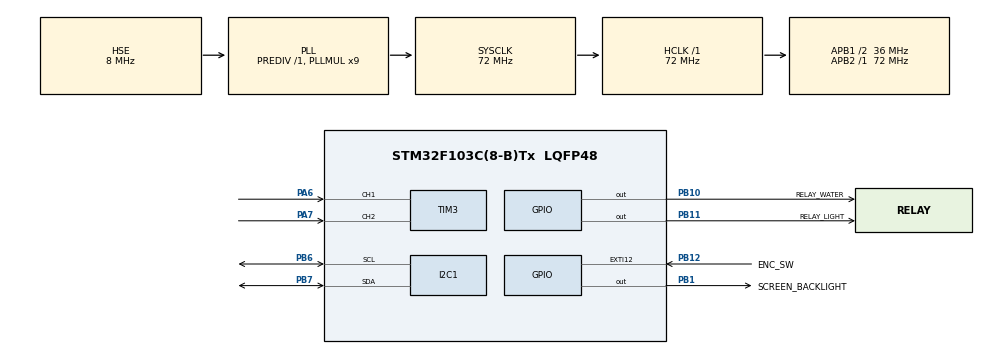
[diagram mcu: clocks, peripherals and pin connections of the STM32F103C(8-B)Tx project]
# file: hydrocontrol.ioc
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Mcu.Family=STM32F1
Mcu.Name=STM32F103C(8-B)Tx
Mcu.Package=LQFP48
NVIC.EXTI15_10_IRQn=true\:2\:0\:true\:false\:true\:true\:true
NVIC.PriorityGroup=NVIC_PRIORITYGROUP_4
NVIC.TIM4_IRQn=true\:1\:0\:true\:false\:true\:true\:true
PA13.Mode=Serial_Wire
PA13.Signal=SYS_JTMS-SWDIO
PA14.Mode=Serial_Wire
PA14.Signal=SYS_JTCK-SWCLK
PA6.Signal=S_TIM3_CH1
PA7.Signal=S_TIM3_CH2
PB1.GPIO_Label=SCREEN_BACKLIGHT
PB1.GPIO_ModeDefaultOutputPP=GPIO_MODE_OUTPUT_PP
PB1.GPIO_PuPd=GPIO_NOPULL
PB1.Signal=GPIO_Output
PB10.GPIO_Label=RELAY_WATER
PB10.Signal=GPIO_Output
PB11.GPIO_Label=RELAY_LIGHT
PB11.Signal=GPIO_Output
PB12.GPIO_Label=ENC_SW
PB12.GPIO_ModeDefaultEXTI=GPIO_MODE_IT_RISING
PB12.GPIO_PuPd=GPIO_PULLUP
PB12.Signal=GPXTI12
PB6.Mode=I2C
PB6.Signal=I2C1_SCL
PB7.Mode=I2C
PB7.Signal=I2C1_SDA
PC14-OSC32_IN.Mode=LSE-External-Oscillator
PC14-OSC32_IN.Signal=RCC_OSC32_IN
PC15-OSC32_OUT.Mode=LSE-External-Oscillator
PC15-OSC32_OUT.Signal=RCC_OSC32_OUT
PD0-OSC_IN.Mode=HSE-External-Oscillator
PD0-OSC_IN.Signal=RCC_OSC_IN
PD1-OSC_OUT.Mode=HSE-External-Oscillator
PD1-OSC_OUT.Signal=RCC_OSC_OUT
ProjectManager.HeapSize=0x200
ProjectManager.StackSize=0x400
ProjectManager.TargetToolchain=STM32CubeIDE
RCC.AHBFreq_Value=72000000
RCC.APB1CLKDivider=RCC_HCLK_DIV2
RCC.APB1Freq_Value=36000000
RCC.APB1TimFreq_Value=72000000
RCC.APB2Freq_Value=72000000
RCC.APB2TimFreq_Value=72000000
RCC.HCLKFreq_Value=72000000
RCC.PLLMUL=RCC_PLL_MUL9
RCC.PLLSourceVirtual=RCC_PLLSOURCE_HSE
RCC.RTCClockSelection=RCC_RTCCLKSOURCE_HSE_DIV128
RCC.SYSCLKFreq_VALUE=72000000
RCC.SYSCLKSource=RCC_SYSCLKSOURCE_PLLCLK
RCC.USBFreq_Value=72000000
RTC.Format=RTC_FORMAT_BIN
SH.S_TIM3_CH1.0=TIM3_CH1,Encoder_Interface
SH.S_TIM3_CH2.0=TIM3_CH2,Encoder_Interface
TIM4.Period=65535
TIM4.Prescaler=65535
VP_RTC_VS_RTC_Activate.Mode=RTC_Enabled
VP_TIM4_VS_ClockSourceINT.Mode=Internal
board=custom

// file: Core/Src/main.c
/* USER CODE BEGIN Header */
/**
  ******************************************************************************
  * @file           : main.c
  * @brief          : Main program body
  ******************************************************************************
  * @attention
  *
  * Author : Alexandr Olejnik <urgorka@gmail.com>
  * Hydrocontrol Ver.1.0
  * Simple controller hydroponic system (light and water) by timer.
  *
  ******************************************************************************
  */
/* USER CODE END Header */
#include "main.h"
#include "i2c.h"
#include "rtc.h"
#include "tim.h"
#include "gpio.h"

/* USER CODE BEGIN Includes */
#include "LCD.h"
#include "string.h"
#include "stdio.h"
/* USER CODE END Includes */

/* USER CODE BEGIN PTD */
enum menuItemType {MIT_INTERVAL, MIT_TIME, MIT_TRIPLE};
enum menuMode {MENU_MODE_LISTING, MENU_MODE_TUNING};
enum menuIndex {MENU_IDX_WATER_DAY, MENU_IDX_LIGHT_DAY, MENU_IDX_TIME, MENU_IDX_WATER_MODE, MENU_IDX_LIGHT_MODE};
enum type {TYPE_HOUR, TYPE_MINUTE, TYPE_BOOL, TYPE_ONEOFMANY};
struct menuItemStruct {
	char firstLine[17];
	char secondLine[17];
	char template[20];
	enum menuItemType type;
	uint8_t settingsMaxIdx;
	uint8_t values[4];
	uint8_t valuePosition[4];
	uint8_t valueType[4];
} menuItems[5];
struct MenuStruct{
	uint8_t currentIdx;
    uint8_t maxIdx;
    uint8_t settingIdx;
    enum menuMode menuMode;
} menu;

/* USER CODE END PTD */

/* USER CODE BEGIN PV */
uint32_t debounceA = 0;
uint32_t bedounceInterval = 300;
uint32_t encoderLastActivityTick = 0;
/* USER CODE END PV */

void SystemClock_Config(void);

/* USER CODE BEGIN 0 */
void displayOn(void) {
	HAL_GPIO_WritePin(SCREEN_BACKLIGHT_GPIO_Port, SCREEN_BACKLIGHT_Pin, 1);
}
void displayOff(void) {
	HAL_GPIO_WritePin(SCREEN_BACKLIGHT_GPIO_Port, SCREEN_BACKLIGHT_Pin, 0);
}
_Bool isDisplayOn(void) {
	return HAL_GPIO_ReadPin(SCREEN_BACKLIGHT_GPIO_Port, SCREEN_BACKLIGHT_Pin) == 1;
}
HAL_StatusTypeDef RTC_Set(uint8_t hour, uint8_t min) {
    HAL_StatusTypeDef res;
    RTC_TimeTypeDef time;
    RTC_DateTypeDef date;

//    memset(&time, 0, sizeof(time));
//    memset(&date, 0, sizeof(date));

    date.WeekDay = 7;
    date.Year = 20;
    date.Month = 11;
    date.Date = 15;

    res = HAL_RTC_SetDate(&hrtc, &date, RTC_FORMAT_BIN);
    if(res != HAL_OK) {
        return res;
    }

    time.Hours = hour;
    time.Minutes = min;
    time.Seconds = 0;

    return HAL_RTC_SetTime(&hrtc, &time, RTC_FORMAT_BIN);
}
// Invoke before reformat second line and menu redraw to set their some proprietary variables.
void beforeMenuRedraw(void) {
	RTC_TimeTypeDef time;
	HAL_StatusTypeDef res;
	if (MIT_TIME == menuItems[menu.currentIdx].type) {
		res = HAL_RTC_GetTime(&hrtc, &time, RTC_FORMAT_BIN);
		if (res == HAL_OK) {
			menuItems[menu.currentIdx].values[0] = time.Hours;
			menuItems[menu.currentIdx].values[1] = time.Minutes;
		} else {
			menuItems[menu.currentIdx].values[0] = 0;
			menuItems[menu.currentIdx].values[1] = 0;
		}
	}
}
// Make some code when switch from Tuning state back to Listing.
void applyTunedState(void) {
	switch (menuItems[menu.currentIdx].type) {
	case MIT_TIME:
		RTC_Set(menuItems[menu.currentIdx].values[0], menuItems[menu.currentIdx].values[1]);
		break;
	case MIT_TRIPLE:
		if (menu.currentIdx == MENU_IDX_LIGHT_MODE) {
			if (1 == menuItems[menu.currentIdx].values[0]) {
				HAL_GPIO_WritePin(RELAY_LIGHT_GPIO_Port, RELAY_LIGHT_Pin, 1);
				HAL_TIM_Base_Stop_IT(&htim4);
			} else if (1 == menuItems[menu.currentIdx].values[1]) {
				HAL_GPIO_WritePin(RELAY_LIGHT_GPIO_Port, RELAY_LIGHT_Pin, 0);
				HAL_TIM_Base_Stop_IT(&htim4);
			} else if (1 == menuItems[menu.currentIdx].values[2]) {
				HAL_TIM_Base_Start_IT(&htim4);
				HAL_TIM_PeriodElapsedCallback(&htim4);
			}
		} else if (menu.currentIdx == MENU_IDX_WATER_MODE) {
			if (1 == menuItems[menu.currentIdx].values[0]) {
				HAL_GPIO_WritePin(RELAY_WATER_GPIO_Port, RELAY_WATER_Pin, 1);
				HAL_TIM_Base_Stop_IT(&htim4);
			} else if (1 == menuItems[menu.currentIdx].values[1]) {
				HAL_GPIO_WritePin(RELAY_WATER_GPIO_Port, RELAY_WATER_Pin, 0);
				HAL_TIM_Base_Stop_IT(&htim4);
			} else if (1 == menuItems[menu.currentIdx].values[2]) {
				HAL_TIM_Base_Start_IT(&htim4);
				HAL_TIM_PeriodElapsedCallback(&htim4);
			}
		}
		break;
	case MIT_INTERVAL:
		break;
	}
}
// Redraw both lines of menu
void menuRedraw(void) {
	LCD_Clear();
    LCD_CursorMove(1, 1); LCD_SendString(menuItems[menu.currentIdx].firstLine);
    LCD_CursorMove(2, 1); LCD_SendString(menuItems[menu.currentIdx].secondLine);
}
// Shows system time when screen backlight is off.
void showStandbyScreen(void) {
	HAL_StatusTypeDef res;
	RTC_TimeTypeDef time;
	char str[25];
	res = HAL_RTC_GetTime(&hrtc, &time, RTC_FORMAT_BIN);
	if (res != HAL_OK) {
		Error_Handler();
	}
	LCD_Clear();
	LCD_SendString("Hydrocontrol");
	LCD_CursorMove(2, 1);
	sprintf(str, "%02d:%02d:%02d    v1.0", time.Hours, time.Minutes, time.Seconds);
	LCD_SendString(str);
}
// Format second line data according to second line format
void menuSecondLineReformat(void) {
	char text [16];

	switch (menuItems[menu.currentIdx].type) {
	case MIT_INTERVAL:
		sprintf(text, menuItems[menu.currentIdx].template, menuItems[menu.currentIdx].values[0], menuItems[menu.currentIdx].values[1], menuItems[menu.currentIdx].values[2], menuItems[menu.currentIdx].values[3]);
		strcpy(menuItems[menu.currentIdx].secondLine, text);
		break;
	case MIT_TIME:
		sprintf(text, menuItems[menu.currentIdx].template, menuItems[menu.currentIdx].values[0], menuItems[menu.currentIdx].values[1]);
				strcpy(menuItems[menu.currentIdx].secondLine, text);
		break;
	case MIT_TRIPLE:
		sprintf(text, menuItems[menu.currentIdx].template,
				menuItems[menu.currentIdx].values[0] == 1 ? 0b01111110 : 32,
				menuItems[menu.currentIdx].values[1] == 1 ? 0b01111110 : 32,
				menuItems[menu.currentIdx].values[2] == 1 ? 0b01111110 : 32);
		strcpy(menuItems[menu.currentIdx].secondLine, text);
		break;
	}
}
// move cursor to current tuning position. Points to which parameter should be changed.
void tuningClickCursorMove(void) {
	LCD_CursorMove(2, menuItems[menu.currentIdx].valuePosition[menu.settingIdx]);
}
// Interruption callback for encoder button click.
// Changes state of menu and switch between parameters.
void HAL_GPIO_EXTI_Callback(uint16_t GPIO_Pin) {
	uint32_t bedounceB = HAL_GetTick();
	if (bedounceB - debounceA < bedounceInterval) return;
	debounceA = bedounceB;
	if (!isDisplayOn()) {
		displayOn();
		return;
	}
	switch (menu.menuMode) {
	case MENU_MODE_LISTING:
		menu.menuMode = MENU_MODE_TUNING;
		menu.settingIdx = 0;
		LCD_CursorState(LCD_CursorState_On);
		menuRedraw();
		tuningClickCursorMove();
		break;
	case MENU_MODE_TUNING:
		if (menu.settingIdx < menuItems[menu.currentIdx].settingsMaxIdx) {
			menu.settingIdx++;
			tuningClickCursorMove();
		} else {
			menu.menuMode = MENU_MODE_LISTING;
			applyTunedState();
			LCD_CursorState(LCD_CursorState_Off);
		}
		break;
	}
}
/**
  * Interruption handler of every-minute-timer.
  * @brief  Period elapsed callback in non-blocking mode
  * @param  htim TIM handle
  * @retval None
  */
void HAL_TIM_PeriodElapsedCallback(TIM_HandleTypeDef *htim) {
	 if (TIM4 == htim->Instance) {
		RTC_TimeTypeDef time;
		HAL_StatusTypeDef res;
		uint32_t currentTimeLinear;
		uint32_t tStart, tStop;
		res = HAL_RTC_GetTime(&hrtc, &time, RTC_FORMAT_BIN);
		if (res == HAL_OK) {
			currentTimeLinear = time.Hours * 60 + time.Minutes;
			if (menuItems[MENU_IDX_WATER_MODE].values[2] == 1) {
				tStart = menuItems[MENU_IDX_WATER_DAY].values[0] * 60 + menuItems[MENU_IDX_WATER_DAY].values[1];
				tStop = menuItems[MENU_IDX_WATER_DAY].values[2] * 60 + menuItems[MENU_IDX_WATER_DAY].values[3];
				if (currentTimeLinear >= tStart && currentTimeLinear < tStop) {
					HAL_GPIO_WritePin(RELAY_WATER_GPIO_Port, RELAY_WATER_Pin, 1);
				} else {
					HAL_GPIO_WritePin(RELAY_WATER_GPIO_Port, RELAY_WATER_Pin, 0);
				}
			}
			if (menuItems[MENU_IDX_LIGHT_MODE].values[2] == 1) {
				tStart = menuItems[MENU_IDX_LIGHT_DAY].values[0] * 60 + menuItems[MENU_IDX_LIGHT_DAY].values[1];
				tStop = menuItems[MENU_IDX_LIGHT_DAY].values[2] * 60 + menuItems[MENU_IDX_LIGHT_DAY].values[3];
				if (currentTimeLinear >= tStart && currentTimeLinear < tStop) {
					HAL_GPIO_WritePin(RELAY_LIGHT_GPIO_Port, RELAY_LIGHT_Pin, 1);
				} else {
					HAL_GPIO_WritePin(RELAY_LIGHT_GPIO_Port, RELAY_LIGHT_Pin, 0);
				}
			}
		} else {
			Error_Handler();
		}
		if (HAL_GetTick() - encoderLastActivityTick > 5000) {
			displayOff();
			showStandbyScreen();
		}
		encoderLastActivityTick = HAL_GetTick();
	}
}
// Handles signals from encoder according menu state (mode) and selected parameter.
void encoderSignal(int8_t signal) {
	encoderLastActivityTick = HAL_GetTick();
	if (!isDisplayOn()) {
		displayOn();
		return;
	}
	switch (menu.menuMode) {
	case MENU_MODE_LISTING:
		if (1 == signal) {
			if (menu.currentIdx < menu.maxIdx) {
				menu.currentIdx++;
				beforeMenuRedraw();
				menuSecondLineReformat();
				menuRedraw();
			}
		} else {
			if (menu.currentIdx > 0) {
				menu.currentIdx--;
				beforeMenuRedraw();
				menuSecondLineReformat();
				menuRedraw();
			}
		}
		break;
	case MENU_MODE_TUNING: // increment/decrement value
		switch (menuItems[menu.currentIdx].valueType[menu.settingIdx]) {
		case TYPE_HOUR:
			if (1 == signal && menuItems[menu.currentIdx].values[menu.settingIdx] < 23)
				menuItems[menu.currentIdx].values[menu.settingIdx]++;
			else if (-1 == signal && menuItems[menu.currentIdx].values[menu.settingIdx] > 0)
				menuItems[menu.currentIdx].values[menu.settingIdx]--;
			break;
		case TYPE_MINUTE:
			if (1 == signal && menuItems[menu.currentIdx].values[menu.settingIdx] < 59)
				menuItems[menu.currentIdx].values[menu.settingIdx]++;
			else if (-1 == signal && menuItems[menu.currentIdx].values[menu.settingIdx] > 0)
				menuItems[menu.currentIdx].values[menu.settingIdx]--;
			break;
//		case TYPE_BOOL:
//			menuItems[menu.currentIdx].values[menu.settingIdx] ^= 1;
//			break;
		case TYPE_ONEOFMANY:
			for (uint8_t i = 0; i < sizeof(menuItems[menu.currentIdx].values); i++)
				menuItems[menu.currentIdx].values[i] = 0;
			menuItems[menu.currentIdx].values[menu.settingIdx] = 1;
			break;
		}
		menuSecondLineReformat();
		LCD_CursorMove(2, 1); LCD_SendString(menuItems[menu.currentIdx].secondLine);
		tuningClickCursorMove();
		break;
	}
}
/* USER CODE END 0 */

int main(void)
{

  /* MCU Configuration--------------------------------------------------------*/

  /* Reset of all peripherals, Initializes the Flash interface and the Systick. */
  HAL_Init();

  /* Configure the system clock */
  SystemClock_Config();

  /* Initialize all configured peripherals */
  MX_GPIO_Init();
  MX_I2C1_Init();
  MX_RTC_Init();
  MX_TIM3_Init();
  MX_TIM4_Init();
  /* USER CODE BEGIN 2 */
	////////////////////////////////////////////////////////////////////////////
	// Menu definition with all them types
	strcpy(menuItems[0].firstLine, "Water day    [1]");
	strcpy(menuItems[0].secondLine, "");
	strcpy(menuItems[0].template, "%02d:%02d-%02d:%02d");
	menuItems[0].type = MIT_INTERVAL;
	menuItems[0].settingsMaxIdx = 3;
	menuItems[0].valuePosition[0] = 1;
	menuItems[0].valuePosition[1] = 4;
	menuItems[0].valuePosition[2] = 7;
	menuItems[0].valuePosition[3] = 10;
	menuItems[0].values[0] = 12;
	menuItems[0].values[1] = 31;
	menuItems[0].values[2] = 12;
	menuItems[0].values[3] = 33;
	menuItems[0].valueType[0] = TYPE_HOUR;
	menuItems[0].valueType[1] = TYPE_MINUTE;
	menuItems[0].valueType[2] = TYPE_HOUR;
	menuItems[0].valueType[3] = TYPE_MINUTE;

	strcpy(menuItems[1].firstLine, "Light day    [2]");
	strcpy(menuItems[1].secondLine, "");
	strcpy(menuItems[1].template, "%02d:%02d-%02d:%02d");
	menuItems[1].type = MIT_INTERVAL;
	menuItems[1].settingsMaxIdx = 3;
	menuItems[1].valuePosition[0] = 1;
	menuItems[1].valuePosition[1] = 4;
	menuItems[1].valuePosition[2] = 7;
	menuItems[1].valuePosition[3] = 10;
	menuItems[1].values[0] = 12;
	menuItems[1].values[1] = 32;
	menuItems[1].values[2] = 12;
	menuItems[1].values[3] = 34;
	menuItems[1].valueType[0] = TYPE_HOUR;
	menuItems[1].valueType[1] = TYPE_MINUTE;
	menuItems[1].valueType[2] = TYPE_HOUR;
	menuItems[1].valueType[3] = TYPE_MINUTE;

	strcpy(menuItems[2].firstLine, "Current time [3]");
	strcpy(menuItems[2].secondLine, "");
	strcpy(menuItems[2].template, "%02d:%02d");
	menuItems[2].type = MIT_TIME;
	menuItems[2].settingsMaxIdx = 1;
	menuItems[2].valuePosition[0] = 1;
	menuItems[2].valuePosition[1] = 4;
	menuItems[2].values[0] = 12;
	menuItems[2].values[1] = 30;
	menuItems[2].valueType[0] = TYPE_HOUR;
	menuItems[2].valueType[1] = TYPE_MINUTE;

	strcpy(menuItems[MENU_IDX_WATER_MODE].firstLine, "Water mode   [4]");
	strcpy(menuItems[MENU_IDX_WATER_MODE].secondLine, "");
	strcpy(menuItems[MENU_IDX_WATER_MODE].template, "%con %coff %ctimer");
	menuItems[MENU_IDX_WATER_MODE].type = MIT_TRIPLE;
	menuItems[MENU_IDX_WATER_MODE].settingsMaxIdx = 2;
	menuItems[MENU_IDX_WATER_MODE].valuePosition[0] = 1;
	menuItems[MENU_IDX_WATER_MODE].valuePosition[1] = 5;
	menuItems[MENU_IDX_WATER_MODE].valuePosition[2] = 10;
	menuItems[MENU_IDX_WATER_MODE].values[0] = 0;
	menuItems[MENU_IDX_WATER_MODE].values[1] = 1;
	menuItems[MENU_IDX_WATER_MODE].values[2] = 0;
	menuItems[MENU_IDX_WATER_MODE].valueType[0] = TYPE_ONEOFMANY;
	menuItems[MENU_IDX_WATER_MODE].valueType[1] = TYPE_ONEOFMANY;
	menuItems[MENU_IDX_WATER_MODE].valueType[2] = TYPE_ONEOFMANY;

	strcpy(menuItems[MENU_IDX_LIGHT_MODE].firstLine, "Light mode   [5]");
	strcpy(menuItems[MENU_IDX_LIGHT_MODE].secondLine, "");
	strcpy(menuItems[MENU_IDX_LIGHT_MODE].template, "%con %coff %ctimer");
	menuItems[MENU_IDX_LIGHT_MODE].type = MIT_TRIPLE;
	menuItems[MENU_IDX_LIGHT_MODE].settingsMaxIdx = 2;
	menuItems[MENU_IDX_LIGHT_MODE].valuePosition[0] = 1;
	menuItems[MENU_IDX_LIGHT_MODE].valuePosition[1] = 5;
	menuItems[MENU_IDX_LIGHT_MODE].valuePosition[2] = 10;
	menuItems[MENU_IDX_LIGHT_MODE].values[0] = 0;
	menuItems[MENU_IDX_LIGHT_MODE].values[1] = 1;
	menuItems[MENU_IDX_LIGHT_MODE].values[2] = 0;
	menuItems[MENU_IDX_LIGHT_MODE].valueType[0] = TYPE_ONEOFMANY;
	menuItems[MENU_IDX_LIGHT_MODE].valueType[1] = TYPE_ONEOFMANY;
	menuItems[MENU_IDX_LIGHT_MODE].valueType[2] = TYPE_ONEOFMANY;

	menu.currentIdx = 0;
	menu.maxIdx = 4;

	HAL_TIM_Encoder_Start(&htim3, TIM_CHANNEL_ALL);
	LCD_Init();
	RTC_Set(12, 30);

    __HAL_TIM_SET_COUNTER(&htim3, 1);// prevent fake increment at start
    menuSecondLineReformat();
    menuRedraw();
    if (1 == menuItems[MENU_IDX_WATER_MODE].values[2] || 1 == menuItems[MENU_IDX_LIGHT_MODE].values[2]) {
    	HAL_TIM_Base_Start_IT(&htim4);
    	HAL_TIM_PeriodElapsedCallback(&htim4);
   	}
  /* USER CODE END 2 */

  /* Infinite loop */
  /* USER CODE BEGIN WHILE */
    uint16_t encValue = 1;
	uint16_t encValuePrev = 1;
	uint8_t  encDirection;
	displayOn();
	while (1) {
		encValue = __HAL_TIM_GET_COUNTER(&htim3);
		encDirection = READ_BIT(htim3.Instance->CR1, TIM_CR1_DIR);
		if (encValuePrev != encValue && (encValue % 2 == 0)){
			encoderSignal(0 == encDirection ? 1 : -1);
		}
		encValuePrev = encValue;
    /* USER CODE END WHILE */

	}
}

void SystemClock_Config(void)
{
  RCC_OscInitTypeDef RCC_OscInitStruct = {0};
  RCC_ClkInitTypeDef RCC_ClkInitStruct = {0};
  RCC_PeriphCLKInitTypeDef PeriphClkInit = {0};

  /** Initializes the RCC Oscillators according to the specified parameters
  * in the RCC_OscInitTypeDef structure.
  */
  RCC_OscInitStruct.OscillatorType = RCC_OSCILLATORTYPE_HSE;
  RCC_OscInitStruct.HSEState = RCC_HSE_ON;
  RCC_OscInitStruct.HSEPredivValue = RCC_HSE_PREDIV_DIV1;
  RCC_OscInitStruct.HSIState = RCC_HSI_ON;
  RCC_OscInitStruct.PLL.PLLState = RCC_PLL_ON;
  RCC_OscInitStruct.PLL.PLLSource = RCC_PLLSOURCE_HSE;
  RCC_OscInitStruct.PLL.PLLMUL = RCC_PLL_MUL9;
  if (HAL_RCC_OscConfig(&RCC_OscInitStruct) != HAL_OK)
  {
    Error_Handler();
  }
  /** Initializes the CPU, AHB and APB buses clocks
  */
  RCC_ClkInitStruct.ClockType = RCC_CLOCKTYPE_HCLK|RCC_CLOCKTYPE_SYSCLK
                              |RCC_CLOCKTYPE_PCLK1|RCC_CLOCKTYPE_PCLK2;
  RCC_ClkInitStruct.SYSCLKSource = RCC_SYSCLKSOURCE_PLLCLK;
  RCC_ClkInitStruct.AHBCLKDivider = RCC_SYSCLK_DIV1;
  RCC_ClkInitStruct.APB1CLKDivider = RCC_HCLK_DIV2;
  RCC_ClkInitStruct.APB2CLKDivider = RCC_HCLK_DIV1;

  if (HAL_RCC_ClockConfig(&RCC_ClkInitStruct, FLASH_LATENCY_2) != HAL_OK)
  {
    Error_Handler();
  }
  PeriphClkInit.PeriphClockSelection = RCC_PERIPHCLK_RTC;
  PeriphClkInit.RTCClockSelection = RCC_RTCCLKSOURCE_HSE_DIV128;
  if (HAL_RCCEx_PeriphCLKConfig(&PeriphClkInit) != HAL_OK)
  {
    Error_Handler();
  }
}

void Error_Handler(void)
{
}

/************************ (C) COPYRIGHT STMicroelectronics *****END OF FILE****/
